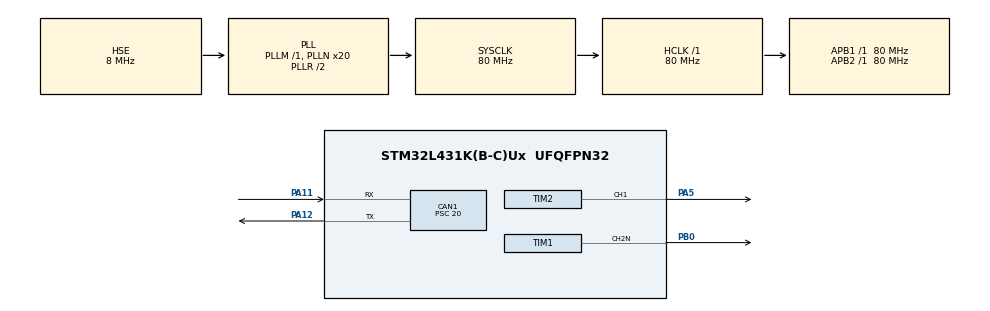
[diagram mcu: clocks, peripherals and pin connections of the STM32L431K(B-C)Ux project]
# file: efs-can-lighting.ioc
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CAN1.BS1=CAN_BS1_2TQ
CAN1.CalculateBaudRate=1000000
CAN1.CalculateTimeBit=1000
CAN1.CalculateTimeQuantum=250.0
CAN1.Mode=CAN_MODE_NORMAL
CAN1.Prescaler=20
Dma.Request0=TIM1_CH2
Dma.Request1=TIM2_CH1
Dma.TIM1_CH2.0.Direction=DMA_MEMORY_TO_PERIPH
Dma.TIM1_CH2.0.Instance=DMA1_Channel3
Dma.TIM1_CH2.0.MemDataAlignment=DMA_MDATAALIGN_BYTE
Dma.TIM1_CH2.0.MemInc=DMA_MINC_ENABLE
Dma.TIM1_CH2.0.Mode=DMA_CIRCULAR
Dma.TIM1_CH2.0.PeriphDataAlignment=DMA_PDATAALIGN_WORD
Dma.TIM1_CH2.0.PeriphInc=DMA_PINC_DISABLE
Dma.TIM1_CH2.0.Priority=DMA_PRIORITY_HIGH
Dma.TIM2_CH1.1.Direction=DMA_MEMORY_TO_PERIPH
Dma.TIM2_CH1.1.Instance=DMA1_Channel5
Dma.TIM2_CH1.1.MemDataAlignment=DMA_MDATAALIGN_BYTE
Dma.TIM2_CH1.1.MemInc=DMA_MINC_ENABLE
Dma.TIM2_CH1.1.Mode=DMA_CIRCULAR
Dma.TIM2_CH1.1.PeriphDataAlignment=DMA_PDATAALIGN_WORD
Dma.TIM2_CH1.1.PeriphInc=DMA_PINC_DISABLE
Dma.TIM2_CH1.1.Priority=DMA_PRIORITY_HIGH
Mcu.Family=STM32L4
Mcu.Name=STM32L431K(B-C)Ux
Mcu.Package=UFQFPN32
NVIC.CAN1_RX0_IRQn=true\:0\:0\:false\:false\:true\:true\:true\:true
NVIC.DMA1_Channel3_IRQn=true\:0\:0\:false\:false\:true\:false\:true\:true
NVIC.DMA1_Channel5_IRQn=true\:0\:0\:false\:false\:true\:false\:true\:true
NVIC.PriorityGroup=NVIC_PRIORITYGROUP_4
NVIC.TIM1_BRK_TIM15_IRQn=true\:0\:0\:false\:false\:true\:true\:true\:true
NVIC.TIM1_TRG_COM_IRQn=true\:0\:0\:false\:false\:true\:true\:true\:true
NVIC.TIM1_UP_TIM16_IRQn=true\:0\:0\:false\:false\:true\:true\:true\:true
NVIC.TIM2_IRQn=true\:0\:0\:false\:false\:true\:true\:true\:true
NVIC.TIM6_DAC_IRQn=true\:0\:0\:false\:false\:true\:true\:true\:true
NVIC.TIM7_IRQn=true\:0\:0\:false\:false\:true\:true\:true\:true
PA0.Mode=HSE-External-Clock-Source-for-LittleOrca
PA0.Signal=RCC_CK_IN
PA11.GPIO_PuPd=GPIO_NOPULL
PA11.Mode=CAN_Activate
PA11.Signal=CAN1_RX
PA12.Mode=CAN_Activate
PA12.Signal=CAN1_TX
PA13\ (JTMS-SWDIO).Mode=Trace_Asynchronous_SW
PA13\ (JTMS-SWDIO).Signal=SYS_JTMS-SWDIO
PA14\ (JTCK-SWCLK).Mode=Trace_Asynchronous_SW
PA14\ (JTCK-SWCLK).Signal=SYS_JTCK-SWCLK
PA5.Signal=S_TIM2_CH1
PB0.GPIO_Speed=GPIO_SPEED_FREQ_HIGH
PB0.Mode=PWM Generation2 CH2N
PB0.Signal=TIM1_CH2N
PB3\ (JTDO-TRACESWO).Mode=Trace_Asynchronous_SW
PB3\ (JTDO-TRACESWO).Signal=SYS_JTDO-SWO
ProjectManager.HeapSize=0x200
ProjectManager.StackSize=0x400
ProjectManager.TargetToolchain=STM32CubeIDE
RCC.ADCFreq_Value=32000000
RCC.AHBFreq_Value=80000000
RCC.APB1Freq_Value=80000000
RCC.APB1TimFreq_Value=80000000
RCC.APB2Freq_Value=80000000
RCC.APB2TimFreq_Value=80000000
RCC.CortexFreq_Value=80000000
RCC.HCLKFreq_Value=80000000
RCC.HSE_VALUE=8000000
RCC.HSI48_VALUE=48000000
RCC.HSI_VALUE=16000000
RCC.LSE_VALUE=32768
RCC.MSIClockRange=RCC_MSIRANGE_11
RCC.MSI_VALUE=48000000
RCC.PLLN=20
RCC.PLLSourceVirtual=RCC_PLLSOURCE_HSE
RCC.SYSCLKFreq_VALUE=80000000
RCC.SYSCLKSource=RCC_SYSCLKSOURCE_PLLCLK
RCC.VCOOutputFreq_Value=160000000
SH.S_TIM2_CH1.0=TIM2_CH1,PWM Generation1 CH1
TIM1.Channel-PWM\ Generation2\ CH2N=TIM_CHANNEL_2
TIM1.OCFastMode_PWM-PWM\ Generation2\ CH2N=TIM_OCFAST_DISABLE
TIM1.OCMode_PWM-PWM\ Generation2\ CH2N=TIM_OCMODE_PWM1
TIM1.OCNIdleState_2=TIM_OCNIDLESTATE_SET
TIM1.OCNPolarity_2=TIM_OCNPOLARITY_LOW
TIM1.Period=96
TIM2.Channel-PWM\ Generation1\ CH1=TIM_CHANNEL_1
TIM2.Period=96
TIM6.Period=62500
TIM6.Prescaler=767
TIM6.TIM_MasterOutputTrigger=TIM_TRGO_UPDATE
TIM7.Period=49999
TIM7.Prescaler=95
VP_TIM1_VS_ClockSourceINT.Mode=Internal
VP_TIM2_VS_ClockSourceINT.Mode=Internal
VP_TIM6_VS_ClockSourceINT.Mode=Enable_Timer
VP_TIM7_VS_ClockSourceINT.Mode=Enable_Timer
board=custom

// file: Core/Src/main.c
/* USER CODE BEGIN Header */
/**
  ******************************************************************************
  * @file           : main.c
  * @brief          : Main program body
  ******************************************************************************
  * @attention
  *
  * Copyright (c) 2025 STMicroelectronics.
  * All rights reserved.
  *
  * This software is licensed under terms that can be found in the LICENSE file
  * in the root directory of this software component.
  * If no LICENSE file comes with this software, it is provided AS-IS.
  *
  ******************************************************************************
  */
/* USER CODE END Header */
#include "main.h"
#include "can.h"
#include "dma.h"
#include "tim.h"
#include "gpio.h"

/* USER CODE BEGIN Includes */
#include <string.h>
/* USER CODE END Includes */

/* USER CODE BEGIN PTD */
typedef enum {
  STATE1 = 0,
  STATE2,
  STATE3
} State_e;

typedef struct {
  uint8_t green;
  uint8_t red;
  uint8_t blue;
} Colour_t;
/* USER CODE END PTD */

/* USER CODE BEGIN PD */
#define LED_COUNT 10

#define LED_DATA_BITS 24
#define LED_RSET_BITS 200

#define LED_0_COUNTS 24
#define LED_1_COUNTS 56
/* USER CODE END PD */

/* USER CODE BEGIN PV */
static Colour_t g = {255, 0, 0};
static Colour_t r = {0, 255, 0};
static Colour_t b = {0, 0, 255};

static State_e targetState;

static uint32_t ledBuffer[LED_COUNT * LED_DATA_BITS + LED_RSET_BITS];
/* USER CODE END PV */

void SystemClock_Config(void);

/* USER CODE BEGIN 0 */
static void setLedBuffer(State_e state)
{
  uint32_t tmpLedBuffer[LED_DATA_BITS] = {0};
  Colour_t *newColour = NULL;

  switch(state)
  {
    case STATE1:
      newColour = &g;
      break;
    case STATE2:
      newColour = &r;
      break;
    case STATE3:
      newColour = &b;
      break;
    default:
      return;
  }

  for(int i = 0; i < 8; ++i)
  {
    tmpLedBuffer[i] = newColour->green & (0x80 >> i) ? LED_1_COUNTS : LED_0_COUNTS;
  }
  for(int i = 0; i < 8; ++i)
  {
    tmpLedBuffer[8 + i] = newColour->red & (0x80 >> i) ? LED_1_COUNTS : LED_0_COUNTS;
  }
  for(int i = 0; i < 8; ++i)
  {
    tmpLedBuffer[16 + i] = newColour->blue & (0x80 >> i) ? LED_1_COUNTS : LED_0_COUNTS;
  }

  for(int i = 0; i < LED_COUNT; ++i)
  {
    memcpy(ledBuffer + LED_DATA_BITS * i, tmpLedBuffer, LED_DATA_BITS * 4);
  }
}

void HAL_TIM_PWM_PulseFinishedCallback(TIM_HandleTypeDef *htim)
{
  static State_e curState = STATE1;

  if(targetState != curState)
  {
    setLedBuffer(targetState);
    curState = targetState;
  }

  HAL_TIM_PWM_Start_DMA(&htim2, TIM_CHANNEL_1, ledBuffer, LED_COUNT * LED_DATA_BITS + LED_RSET_BITS);
}
/* USER CODE END 0 */

int main(void)
{

  /* MCU Configuration--------------------------------------------------------*/

  /* Reset of all peripherals, Initializes the Flash interface and the Systick. */
  HAL_Init();

  /* Configure the system clock */
  SystemClock_Config();

  /* Initialize all configured peripherals */
  MX_GPIO_Init();
  MX_DMA_Init();
  MX_CAN1_Init();
  MX_TIM1_Init();
  MX_TIM6_Init();
  MX_TIM7_Init();
  MX_TIM2_Init();
  /* USER CODE BEGIN 2 */
  setLedBuffer(STATE1);
  if (HAL_TIM_PWM_Start(&htim2, TIM_CHANNEL_1) != HAL_OK) {
	  __NOP();
  }

  HAL_StatusTypeDef state;

  state = HAL_TIM_PWM_Stop_DMA(&htim2, TIM_CHANNEL_1);

  if (state != HAL_OK) {
	  __NOP();
  }

  state = HAL_TIM_PWM_Start_DMA(&htim2, TIM_CHANNEL_1, ledBuffer, 440);
  if (state != HAL_OK) {
	  __NOP();
  }
  /* USER CODE END 2 */

  /* Infinite loop */
  /* USER CODE BEGIN WHILE */
  while (1)
  {
  targetState = STATE1;
  HAL_Delay(500);
  targetState = STATE2;
  HAL_Delay(500);
  targetState = STATE3;
  HAL_Delay(500);
    /* USER CODE END WHILE */

  }
}

void SystemClock_Config(void)
{
  RCC_OscInitTypeDef RCC_OscInitStruct = {0};
  RCC_ClkInitTypeDef RCC_ClkInitStruct = {0};

  /** Configure the main internal regulator output voltage
  */
  if (HAL_PWREx_ControlVoltageScaling(PWR_REGULATOR_VOLTAGE_SCALE1) != HAL_OK)
  {
    Error_Handler();
  }

  /** Initializes the RCC Oscillators according to the specified parameters
  * in the RCC_OscInitTypeDef structure.
  */
  RCC_OscInitStruct.OscillatorType = RCC_OSCILLATORTYPE_HSE;
  RCC_OscInitStruct.HSEState = RCC_HSE_BYPASS;
  RCC_OscInitStruct.PLL.PLLState = RCC_PLL_ON;
  RCC_OscInitStruct.PLL.PLLSource = RCC_PLLSOURCE_HSE;
  RCC_OscInitStruct.PLL.PLLM = 1;
  RCC_OscInitStruct.PLL.PLLN = 20;
  RCC_OscInitStruct.PLL.PLLP = RCC_PLLP_DIV7;
  RCC_OscInitStruct.PLL.PLLQ = RCC_PLLQ_DIV2;
  RCC_OscInitStruct.PLL.PLLR = RCC_PLLR_DIV2;
  if (HAL_RCC_OscConfig(&RCC_OscInitStruct) != HAL_OK)
  {
    Error_Handler();
  }

  /** Initializes the CPU, AHB and APB buses clocks
  */
  RCC_ClkInitStruct.ClockType = RCC_CLOCKTYPE_HCLK|RCC_CLOCKTYPE_SYSCLK
                              |RCC_CLOCKTYPE_PCLK1|RCC_CLOCKTYPE_PCLK2;
  RCC_ClkInitStruct.SYSCLKSource = RCC_SYSCLKSOURCE_PLLCLK;
  RCC_ClkInitStruct.AHBCLKDivider = RCC_SYSCLK_DIV1;
  RCC_ClkInitStruct.APB1CLKDivider = RCC_HCLK_DIV1;
  RCC_ClkInitStruct.APB2CLKDivider = RCC_HCLK_DIV1;

  if (HAL_RCC_ClockConfig(&RCC_ClkInitStruct, FLASH_LATENCY_4) != HAL_OK)
  {
    Error_Handler();
  }
}

void Error_Handler(void)
{
  __disable_irq();
  while (1)
  {
  }
}
